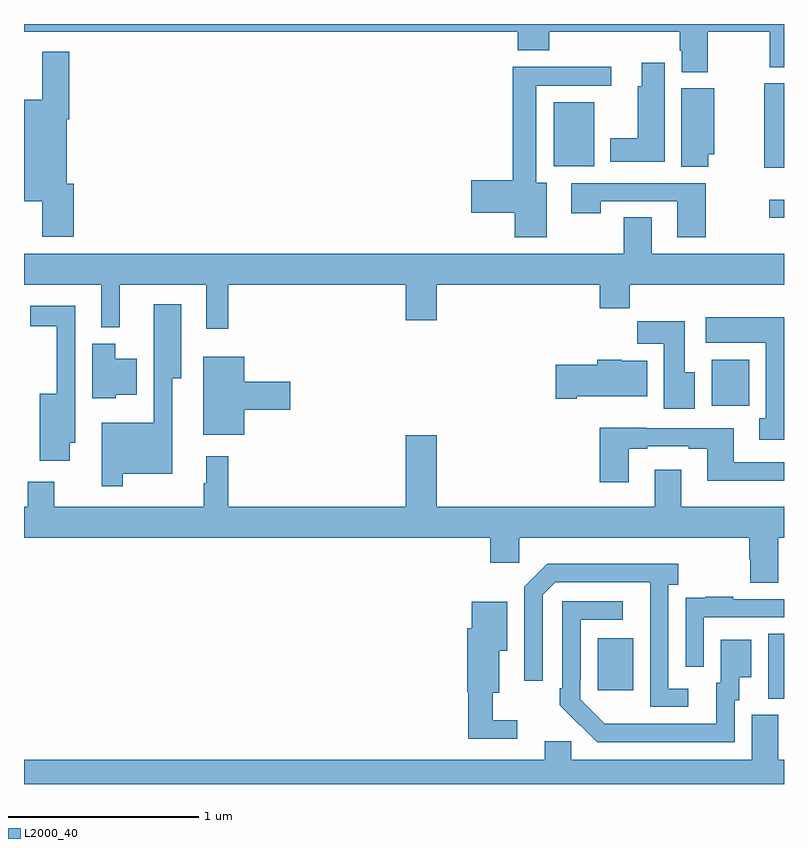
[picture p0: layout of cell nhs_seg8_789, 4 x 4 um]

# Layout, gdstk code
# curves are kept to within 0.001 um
import gdstk
lib = gdstk.Library(unit=1e-6, precision=1e-09)
def R(c, l, rs):  # rectangles x0, y0, x1, y1
    for r in rs: c.add(gdstk.rectangle(r[:2], r[2:], *l))
def P(c, l, *ps):  # polygons
    for p in ps: c.add(gdstk.Polygon(p, *l))
L2000_40 = (2000, 40)

nhs_seg8_789 = lib.new_cell('nhs_seg8_789')
R(nhs_seg8_789, L2000_40, [(166.916,1086.349,167,1086.692), (166.019,1086.393,166.207,1086.667), (166.619,1087.892,166.816,1088.134), (166.923,1088.88,167,1088.976), (166.895,1089.144,167,1089.588), (165.788,1089.152,166,1089.487)])
P(nhs_seg8_789, L2000_40, [(166.599,1089.86),(166.924,1089.86),(166.924,1089.673),(167,1089.673),(167,1089.9),(163,1089.9),(163,1089.86),(165.599,1089.86),(165.599,1089.761),(165.764,1089.761),(165.764,1089.86),(166.451,1089.86),(166.451,1089.759),(166.463,1089.759),(166.463,1089.647),(166.599,1089.647)],
  [(163.262,1089.06),(163.225,1089.06),(163.225,1089.398),(163.238,1089.398),(163.238,1089.754),(163.097,1089.754),(163.097,1089.502),(163,1089.502),(163,1088.967),(163.097,1088.967),(163.097,1088.781),(163.262,1088.781)],
  [(166.372,1089.697),(166.25,1089.697),(166.25,1089.573),(166.229,1089.573),(166.229,1089.298),(166.085,1089.298),(166.085,1089.176),(166.372,1089.176)],
  [(165.751,1089.064),(165.697,1089.064),(165.697,1089.576),(166.09,1089.576),(166.09,1089.674),(165.572,1089.674),(165.572,1089.077),(165.354,1089.077),(165.354,1088.906),(165.584,1088.906),(165.584,1088.778),(165.751,1088.778)],
  [(166.602,1089.215),(166.633,1089.215),(166.633,1089.562),(166.46,1089.562),(166.46,1089.148),(166.602,1089.148)],
  [(166.587,1089.063),(165.879,1089.063),(165.879,1088.904),(166.035,1088.904),(166.035,1088.967),(166.439,1088.967),(166.439,1088.778),(166.587,1088.778)],
  [(163,1088.528),(163.406,1088.528),(163.406,1088.303),(163.504,1088.303),(163.504,1088.528),(163.958,1088.528),(163.958,1088.295),(164.075,1088.295),(164.075,1088.528),(165.008,1088.528),(165.008,1088.34),(165.172,1088.34),(165.172,1088.528),(166.031,1088.528),(166.031,1088.404),(166.187,1088.404),(166.187,1088.528),(167,1088.528),(167,1088.692),(166.303,1088.692),(166.303,1088.882),(166.156,1088.882),(166.156,1088.692),(163,1088.692)],
  [(163.519,1087.532),(163.78,1087.532),(163.78,1088.036),(163.828,1088.036),(163.828,1088.425),(163.682,1088.425),(163.682,1087.801),(163.41,1087.801),(163.41,1087.467),(163.519,1087.467)],
  [(163.24,1087.697),(163.269,1087.697),(163.269,1088.418),(163.032,1088.418),(163.032,1088.31),(163.172,1088.31),(163.172,1087.954),(163.082,1087.954),(163.082,1087.602),(163.24,1087.602)],
  [(167,1088.356),(166.587,1088.356),(166.587,1088.222),(166.904,1088.222),(166.904,1087.826),(166.871,1087.826),(166.871,1087.713),(167,1087.713)],
  [(166.531,1088.068),(166.477,1088.068),(166.477,1088.335),(166.228,1088.335),(166.228,1088.216),(166.367,1088.216),(166.367,1087.875),(166.531,1087.875)],
  [(163.482,1087.949),(163.594,1087.949),(163.594,1088.137),(163.48,1088.137),(163.48,1088.218),(163.358,1088.218),(163.358,1087.931),(163.482,1087.931)],
  [(164.158,1087.871),(164.401,1087.871),(164.401,1088.018),(164.158,1088.018),(164.158,1088.149),(163.943,1088.149),(163.943,1087.739),(164.158,1087.739)],
  [(165.91,1087.94),(166.279,1087.94),(166.279,1088.128),(166.146,1088.128),(166.146,1088.134),(166.016,1088.134),(166.016,1088.106),(165.798,1088.106),(165.798,1087.928),(165.91,1087.928)],
  [(166.183,1087.665),(166.279,1087.665),(166.279,1087.677),(166.499,1087.677),(166.499,1087.665),(166.595,1087.665),(166.595,1087.496),(167,1087.496),(167,1087.593),(166.735,1087.593),(166.735,1087.773),(166.275,1087.773),(166.275,1087.774),(166.031,1087.774),(166.031,1087.488),(166.183,1087.488)],
  [(166.969,1087.196),(167,1087.196),(167,1087.36),(166.459,1087.36),(166.459,1087.555),(166.319,1087.555),(166.319,1087.36),(165.172,1087.36),(165.172,1087.735),(165.008,1087.735),(165.008,1087.36),(164.075,1087.36),(164.075,1087.624),(163.958,1087.624),(163.958,1087.484),(163.947,1087.484),(163.947,1087.36),(163.159,1087.36),(163.159,1087.492),(163.02,1087.492),(163.02,1087.36),(163,1087.36),(163,1087.196),(165.455,1087.196),(165.455,1087.065),(165.606,1087.065),(165.606,1087.196),(166.817,1087.196),(166.817,1087.083),(166.822,1087.083),(166.822,1086.958),(166.969,1086.958)],
  [(166.495,1086.402),(166.392,1086.402),(166.392,1086.95),(166.444,1086.95),(166.444,1087.06),(165.754,1087.06),(165.633,1086.939),(165.633,1086.444),(165.729,1086.444),(165.729,1086.897),(165.795,1086.963),(166.295,1086.963),(166.296,1086.306),(166.495,1086.306)],
  [(166.578,1086.777),(167,1086.777),(167,1086.873),(166.733,1086.873),(166.733,1086.886),(166.585,1086.886),(166.585,1086.879),(166.483,1086.879),(166.483,1086.77),(166.482,1086.77),(166.482,1086.516),(166.578,1086.516)],
  [(166.74,1086.342),(166.765,1086.342),(166.765,1086.461),(166.828,1086.461),(166.828,1086.658),(166.667,1086.658),(166.667,1086.432),(166.643,1086.432),(166.643,1086.216),(166.056,1086.217),(165.927,1086.345),(165.927,1086.445),(165.93,1086.445),(165.93,1086.765),(166.15,1086.765),(166.15,1086.861),(165.834,1086.861),(165.834,1086.403),(165.819,1086.403),(165.819,1086.315),(166.016,1086.12),(166.74,1086.12)],
  [(165.595,1086.235),(165.466,1086.235),(165.466,1086.38),(165.502,1086.38),(165.502,1086.602),(165.544,1086.602),(165.544,1086.859),(165.356,1086.859),(165.356,1086.72),(165.332,1086.72),(165.332,1086.384),(165.337,1086.384),(165.337,1086.138),(165.595,1086.138)],
  [(167,1086.028),(166.969,1086.028),(166.969,1086.264),(166.829,1086.264),(166.829,1086.028),(165.879,1086.028),(165.879,1086.126),(165.74,1086.126),(165.74,1086.028),(163,1086.028),(163,1085.9),(167,1085.9)])

lib.write_gds('nhs_seg8_789.gds')
